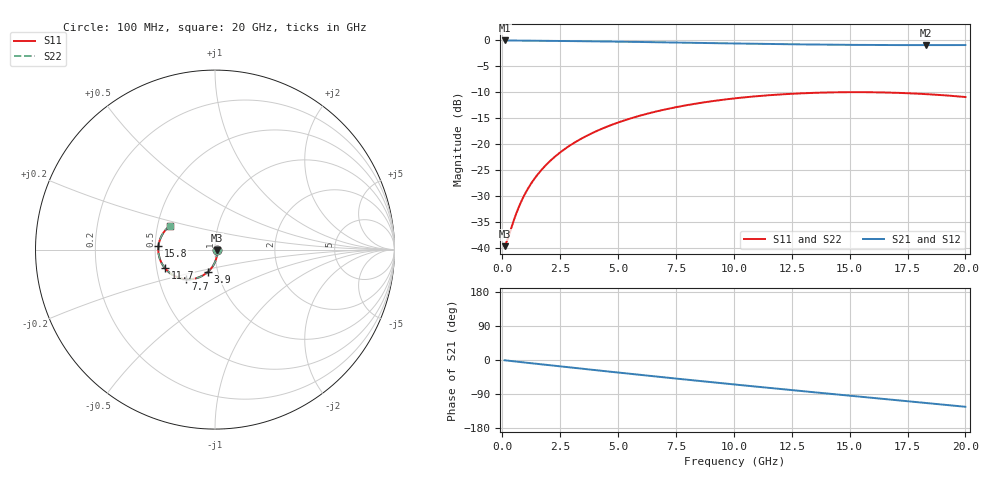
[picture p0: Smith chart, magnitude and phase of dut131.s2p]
! Touchstone file exported from HFSS 2026.1.0
!  File:  C:/ffzhzh/LocalFiles/Ansys_Project_Files/temp_train_TSV_RDL_131_1783049216_46780.aedt
!  Generated:  11:34:28 AM Jul  3, 2026
!  Design:  TSV_RDL
!  Project:  temp_train_TSV_RDL_131_1783049216_46780
! Variables:
!  h_bsmrdl = 2.84um
!  h_ox = 20um
!  h_rdl = 5um
!  h_sub = 90.3um
!  h_tmrdl = 2.16um
!  h_tsv = 90.3um
!  h_via = 3um
!  l_bsmrdl = 142.07um
!  l_sub = 1378.43um
!  l_tmrdl = 113.71um
!  m_sub = 200um
!  pitch = 24.29um
!  r_tsv = 11.01um
!  s_tmrdl = 10um
!  w_bsmrdl = 11.37um
!  w_sub = 500um
!  w_tmrdl = 21.09um
!  x_tsv_center1 = 124.255um
!  x_tsv_center2 = 277.695um
!  x_tsv_center3 = 412.495um
!  x_tsv_center4 = 565.935um
!  x_tsv_center5 = 700.735um
!  x_tsv_center6 = 854.175um
# GHz S MA R 50.000000
! Terminal data exported
! Port[1] = TM_RDL1_1_T1
! Port[2] = TM_RDL5_1_T1
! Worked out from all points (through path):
!   200 points, 100 MHz to 20 GHz, reference 50 ohm
!   highest |S21| = -0.09 dB at 100 MHz (marker M1); lowest = -1.0 dB at 18.3 GHz (marker M2)
!   group delay of S21, straight-line fit = 17 ps
!   lowest |S11| = -39.6 dB at 100 MHz (marker M3), VSWR 1.02, Z = 51 - j0.266 ohm
!   |S11| at or under -10 dB: start of sweep to end of sweep
!   |S22| runs from -39.6 to -10.0 dB; largest |S21 - S12| = 2.2e-14
!   S11 on the Smith chart (normalised r, x): 100 MHz: 1.02, -0.01; 3.9 GHz: 0.90, -0.22; 7.7 GHz: 0.69, -0.24; 11.7 GHz: 0.55, -0.13; 15.8 GHz: 0.52, +0.02; 20 GHz: 0.58, +0.17
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0.1  0.01053 -14.3  0.9898 -0.7  0.9898 -0.7  0.01053 -14.3
! Gamma 0 0 0 0
! Port Impedance 50 0 50 0
0.2  0.01178 -27.0  0.9894 -1.4  0.9894 -1.4  0.01178 -27.0
0.6  0.02155 -57.6  0.987 -4.2  0.987 -4.2  0.02155 -57.6
0.8  0.02765 -65.8  0.986 -5.5  0.986 -5.5  0.02765 -65.8
1.1  0.03725 -74.3  0.9846 -7.5  0.9846 -7.5  0.03725 -74.3
1.4  0.04708 -80.4  0.9834 -9.5  0.9834 -9.5  0.04708 -80.4
1.8  0.06033 -86.5  0.9817 -12.2  0.9817 -12.2  0.06032 -86.5
2.3  0.0769 -92.5  0.9795 -15.5  0.9795 -15.5  0.0769 -92.5
2.9  0.09659 -98.6  0.9766 -19.4  0.9766 -19.4  0.09659 -98.6
3.5  0.1159 -103.9  0.9734 -23.3  0.9734 -23.3  0.1159 -103.9
3.9  0.1285 -107.2  0.9711 -26.0  0.9711 -26.0  0.1285 -107.2
5.2  0.1673 -117.2  0.9627 -34.4  0.9627 -34.4  0.1673 -117.2
6.8  0.21 -128.4  0.9509 -44.6  0.9509 -44.6  0.21 -128.4
7.7  0.2312 -134.4  0.9439 -50.2  0.9439 -50.2  0.2312 -134.4
8.9  0.2559 -142.2  0.9346 -57.7  0.9346 -57.7  0.2559 -142.2
10.1  0.2764 -149.7  0.9255 -65.0  0.9255 -65.0  0.2764 -149.7
11.7  0.2972 -159.5  0.9145 -74.7  0.9145 -74.7  0.2972 -159.5
13.4  0.3109 -169.6  0.9049 -84.7  0.9049 -84.7  0.3109 -169.6
15.8  0.3156 176.4  0.896 -98.8  0.896 -98.8  0.3155 176.4
16.7  0.313 171.2  0.8942 -104.1  0.8942 -104.1  0.313 171.2
18.3  0.3026 162.1  0.8929 -113.4  0.8929 -113.4  0.3026 162.1
20  0.2836 152.4  0.8943 -123.4  0.8943 -123.4  0.2836 152.4
